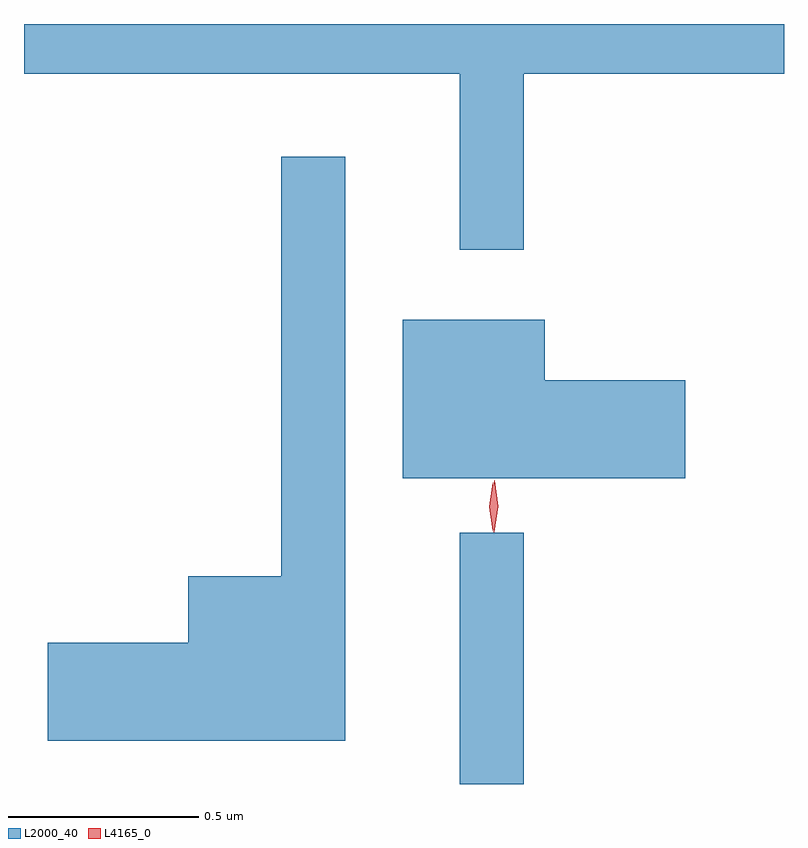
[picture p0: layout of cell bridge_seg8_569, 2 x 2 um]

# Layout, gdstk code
import gdstk
lib = gdstk.Library(unit=1e-6, precision=1e-09)
def R(c, l, rs):  # rectangles x0, y0, x1, y1
    for r in rs: c.add(gdstk.rectangle(r[:2], r[2:], *l))
def P(c, l, *ps):  # polygons
    for p in ps: c.add(gdstk.Polygon(p, *l))
L2000_40 = (2000, 40)
L4165_0 = (4165, 0)

bridge_seg8_569 = lib.new_cell('bridge_seg8_569')
R(bridge_seg8_569, L2000_40, [(466.501,1821.227,466.669,1821.888)])
P(bridge_seg8_569, L2000_40, [(466.669,1823.096),(467.354,1823.096),(467.354,1823.227),(465.354,1823.227),(465.354,1823.096),(466.501,1823.096),(466.501,1822.633),(466.669,1822.633)],
  [(466.199,1822.878),(466.031,1822.878),(466.031,1821.774),(465.786,1821.774),(465.786,1821.599),(465.416,1821.599),(465.416,1821.341),(466.199,1821.341)],
  [(467.094,1822.289),(466.724,1822.289),(466.724,1822.449),(466.351,1822.449),(466.351,1822.031),(467.094,1822.031)])
P(bridge_seg8_569, L4165_0, [(466.59,1821.89),(466.582,1821.958),(466.592,1822.025),(466.593,1822.026),(466.593,1822.025),(466.602,1821.958),(466.591,1821.89),(466.591,1821.89)],
  [(466.588,1821.893),(466.588,1821.894),(466.578,1821.956),(466.588,1822.02),(466.588,1822.02),(466.588,1822.02),(466.598,1821.956),(466.588,1821.894)])

lib.write_gds('bridge_seg8_569.gds')
